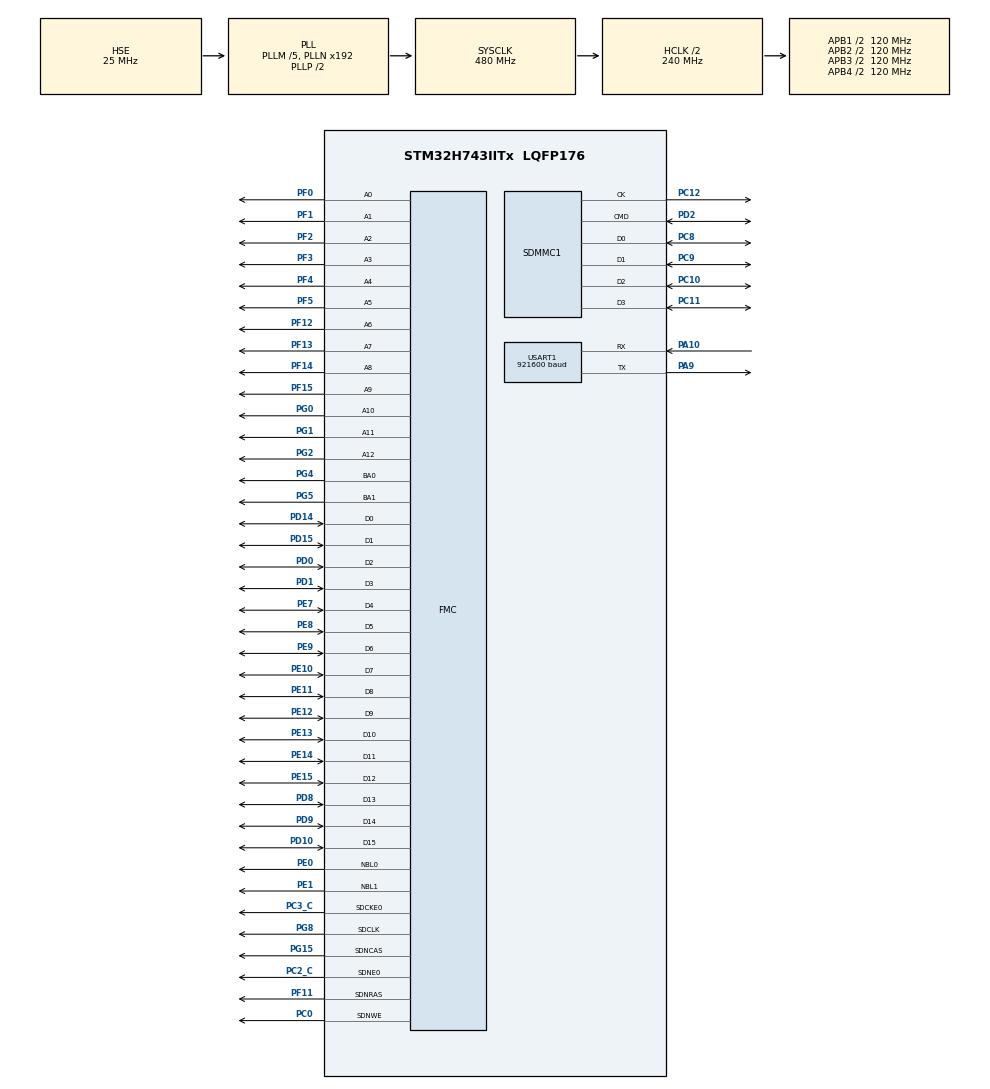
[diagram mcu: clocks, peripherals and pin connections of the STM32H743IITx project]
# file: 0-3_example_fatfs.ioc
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Dma.Request0=USART1_RX
Dma.Request1=USART1_TX
Dma.USART1_RX.0.Direction=DMA_PERIPH_TO_MEMORY
Dma.USART1_RX.0.EventEnable=DISABLE
Dma.USART1_RX.0.FIFOMode=DMA_FIFOMODE_DISABLE
Dma.USART1_RX.0.Instance=DMA1_Stream0
Dma.USART1_RX.0.MemDataAlignment=DMA_MDATAALIGN_BYTE
Dma.USART1_RX.0.MemInc=DMA_MINC_ENABLE
Dma.USART1_RX.0.Mode=DMA_NORMAL
Dma.USART1_RX.0.PeriphDataAlignment=DMA_PDATAALIGN_BYTE
Dma.USART1_RX.0.PeriphInc=DMA_PINC_DISABLE
Dma.USART1_RX.0.Polarity=HAL_DMAMUX_REQ_GEN_RISING
Dma.USART1_RX.0.Priority=DMA_PRIORITY_LOW
Dma.USART1_RX.0.RequestNumber=1
Dma.USART1_RX.0.SignalID=NONE
Dma.USART1_RX.0.SyncEnable=DISABLE
Dma.USART1_RX.0.SyncPolarity=HAL_DMAMUX_SYNC_NO_EVENT
Dma.USART1_RX.0.SyncRequestNumber=1
Dma.USART1_RX.0.SyncSignalID=NONE
Dma.USART1_TX.1.Direction=DMA_MEMORY_TO_PERIPH
Dma.USART1_TX.1.EventEnable=DISABLE
Dma.USART1_TX.1.FIFOMode=DMA_FIFOMODE_DISABLE
Dma.USART1_TX.1.Instance=DMA1_Stream1
Dma.USART1_TX.1.MemDataAlignment=DMA_MDATAALIGN_BYTE
Dma.USART1_TX.1.MemInc=DMA_MINC_ENABLE
Dma.USART1_TX.1.Mode=DMA_NORMAL
Dma.USART1_TX.1.PeriphDataAlignment=DMA_PDATAALIGN_BYTE
Dma.USART1_TX.1.PeriphInc=DMA_PINC_DISABLE
Dma.USART1_TX.1.Polarity=HAL_DMAMUX_REQ_GEN_RISING
Dma.USART1_TX.1.Priority=DMA_PRIORITY_LOW
Dma.USART1_TX.1.RequestNumber=1
Dma.USART1_TX.1.SignalID=NONE
Dma.USART1_TX.1.SyncEnable=DISABLE
Dma.USART1_TX.1.SyncPolarity=HAL_DMAMUX_SYNC_NO_EVENT
Dma.USART1_TX.1.SyncRequestNumber=1
Dma.USART1_TX.1.SyncSignalID=NONE
FATFS.USE_DMA_CODE_SD=1
FATFS._CODE_PAGE=936
FATFS._FS_EXFAT=1
FATFS._FS_RPATH=2
FATFS._LFN_UNICODE=1
FATFS._MAX_SS=4096
FATFS._MULTI_PARTITION=0
FATFS._USE_LFN=3
FATFS._USE_TRIM=1
FMC.CASLatency1=FMC_SDRAM_CAS_LATENCY_2
FMC.ColumnBitsNumber1=FMC_SDRAM_COLUMN_BITS_NUM_9
FMC.ExitSelfRefreshDelay1=8
FMC.LoadToActiveDelay1=2
FMC.RCDDelay1=2
FMC.RPDelay1=2
FMC.ReadBurst1=FMC_SDRAM_RBURST_ENABLE
FMC.ReadPipeDelay1=FMC_SDRAM_RPIPE_DELAY_1
FMC.RowCycleDelay1=6
FMC.RowCycleDelay2=6
FMC.SDClockPeriod1=FMC_SDRAM_CLOCK_PERIOD_2
FMC.SelfRefreshTime1=6
FMC.WriteRecoveryTime1=4
Mcu.Family=STM32H7
Mcu.Name=STM32H743IITx
Mcu.Package=LQFP176
NVIC.DMA1_Stream0_IRQn=true\:0\:0\:false\:false\:true\:false\:true\:true
NVIC.DMA1_Stream1_IRQn=true\:0\:0\:false\:false\:true\:false\:true\:true
NVIC.FMC_IRQn=true\:0\:0\:false\:false\:true\:true\:true\:true
NVIC.PriorityGroup=NVIC_PRIORITYGROUP_4
NVIC.SDMMC1_IRQn=true\:1\:0\:true\:false\:true\:true\:true\:true
NVIC.USART1_IRQn=true\:0\:0\:false\:false\:true\:true\:true\:true
PA10.GPIO_Speed=GPIO_SPEED_FREQ_HIGH
PA10.Mode=Asynchronous
PA10.Signal=USART1_RX
PA13\ (JTMS/SWDIO).Mode=Serial_Wire
PA13\ (JTMS/SWDIO).Signal=DEBUG_JTMS-SWDIO
PA14\ (JTCK/SWCLK).Mode=Serial_Wire
PA14\ (JTCK/SWCLK).Signal=DEBUG_JTCK-SWCLK
PA9.GPIO_Speed=GPIO_SPEED_FREQ_HIGH
PA9.Mode=Asynchronous
PA9.Signal=USART1_TX
PC0.Signal=FMC_SDNWE
PC10.Mode=SD_4_bits_Wide_bus
PC10.Signal=SDMMC1_D2
PC11.Mode=SD_4_bits_Wide_bus
PC11.Signal=SDMMC1_D3
PC12.Mode=SD_4_bits_Wide_bus
PC12.Signal=SDMMC1_CK
PC14-OSC32_IN\ (OSC32_IN).Mode=LSE-External-Oscillator
PC14-OSC32_IN\ (OSC32_IN).Signal=RCC_OSC32_IN
PC15-OSC32_OUT\ (OSC32_OUT).Mode=LSE-External-Oscillator
PC15-OSC32_OUT\ (OSC32_OUT).Signal=RCC_OSC32_OUT
PC2_C.Mode=SdramChipSelect1_1
PC2_C.Signal=FMC_SDNE0
PC3_C.Mode=SdramChipSelect1_1
PC3_C.Signal=FMC_SDCKE0
PC8.Mode=SD_4_bits_Wide_bus
PC8.Signal=SDMMC1_D0
PC9.Mode=SD_4_bits_Wide_bus
PC9.Signal=SDMMC1_D1
PD0.Signal=FMC_D2_DA2
PD1.Signal=FMC_D3_DA3
PD10.Signal=FMC_D15_DA15
PD14.Signal=FMC_D0_DA0
PD15.Signal=FMC_D1_DA1
PD2.Mode=SD_4_bits_Wide_bus
PD2.Signal=SDMMC1_CMD
PD8.Signal=FMC_D13_DA13
PD9.Signal=FMC_D14_DA14
PE0.Signal=FMC_NBL0
PE1.Signal=FMC_NBL1
PE10.Signal=FMC_D7_DA7
PE11.Signal=FMC_D8_DA8
PE12.Signal=FMC_D9_DA9
PE13.Signal=FMC_D10_DA10
PE14.Signal=FMC_D11_DA11
PE15.Signal=FMC_D12_DA12
PE7.Signal=FMC_D4_DA4
PE8.Signal=FMC_D5_DA5
PE9.Signal=FMC_D6_DA6
PF0.Signal=FMC_A0
PF1.Signal=FMC_A1
PF11.Signal=FMC_SDNRAS
PF12.Signal=FMC_A6
PF13.Signal=FMC_A7
PF14.Signal=FMC_A8
PF15.Signal=FMC_A9
PF2.Signal=FMC_A2
PF3.Signal=FMC_A3
PF4.Signal=FMC_A4
PF5.Signal=FMC_A5
PG0.Signal=FMC_A10
PG1.Signal=FMC_A11
PG15.Signal=FMC_SDNCAS
PG2.Signal=FMC_A12
PG4.Signal=FMC_A14_BA0
PG5.Signal=FMC_A15_BA1
PG8.Signal=FMC_SDCLK
PH0-OSC_IN\ (PH0).Mode=HSE-External-Oscillator
PH0-OSC_IN\ (PH0).Signal=RCC_OSC_IN
PH1-OSC_OUT\ (PH1).Mode=HSE-External-Oscillator
PH1-OSC_OUT\ (PH1).Signal=RCC_OSC_OUT
ProjectManager.HeapSize=0x400
ProjectManager.StackSize=0x800
ProjectManager.TargetToolchain=STM32CubeIDE
RCC.ADCFreq_Value=400000000
RCC.APB1Freq_Value=120000000
RCC.APB2Freq_Value=120000000
RCC.APB3Freq_Value=120000000
RCC.APB4Freq_Value=120000000
RCC.CortexFreq_Value=480000000
RCC.D1PPRE=RCC_APB3_DIV2
RCC.D2PPRE1=RCC_APB1_DIV2
RCC.D2PPRE2=RCC_APB2_DIV2
RCC.D3PPRE=RCC_APB4_DIV2
RCC.DIVM1=5
RCC.DIVM2=5
RCC.DIVM3=5
RCC.DIVN1=192
RCC.DIVN2=160
RCC.DIVN3=192
RCC.DIVQ1=4
RCC.DIVQ2=4
RCC.DIVQ3=4
RCC.DIVR2=4
RCC.HCLKFreq_Value=240000000
RCC.HPRE=RCC_HCLK_DIV2
RCC.PLLSourceVirtual=RCC_PLLSOURCE_HSE
RCC.RTCClockSelection=RCC_RTCCLKSOURCE_LSE
RCC.SYSCLKFreq_VALUE=480000000
RCC.SYSCLKSource=RCC_SYSCLKSOURCE_PLLCLK
RCC.USBFreq_Value=240000000
RTC.Date=29
RTC.Format=RTC_FORMAT_BIN
RTC.Hours=22
RTC.Minutes=22
RTC.Month=RTC_MONTH_JULY
RTC.Seconds=22
RTC.WeekDay=RTC_WEEKDAY_TUESDAY
RTC.Year=25
SDMMC1.ClockDiv=8
SDMMC1.TransceiverPresent=SDMMC_TRANSCEIVER_NOT_PRESENT
SH.FMC_A0.0=FMC_A0,13b-sda1
SH.FMC_A1.0=FMC_A1,13b-sda1
SH.FMC_A10.0=FMC_A10,13b-sda1
SH.FMC_A11.0=FMC_A11,13b-sda1
SH.FMC_A12.0=FMC_A12,13b-sda1
SH.FMC_A14_BA0.0=FMC_BA0,FourSdramBanks1
SH.FMC_A15_BA1.0=FMC_BA1,FourSdramBanks1
SH.FMC_A2.0=FMC_A2,13b-sda1
SH.FMC_A3.0=FMC_A3,13b-sda1
SH.FMC_A4.0=FMC_A4,13b-sda1
SH.FMC_A5.0=FMC_A5,13b-sda1
SH.FMC_A6.0=FMC_A6,13b-sda1
SH.FMC_A7.0=FMC_A7,13b-sda1
SH.FMC_A8.0=FMC_A8,13b-sda1
SH.FMC_A9.0=FMC_A9,13b-sda1
SH.FMC_D0_DA0.0=FMC_D0,sd-16b-d1
SH.FMC_D10_DA10.0=FMC_D10,sd-16b-d1
SH.FMC_D11_DA11.0=FMC_D11,sd-16b-d1
SH.FMC_D12_DA12.0=FMC_D12,sd-16b-d1
SH.FMC_D13_DA13.0=FMC_D13,sd-16b-d1
SH.FMC_D14_DA14.0=FMC_D14,sd-16b-d1
SH.FMC_D15_DA15.0=FMC_D15,sd-16b-d1
SH.FMC_D1_DA1.0=FMC_D1,sd-16b-d1
SH.FMC_D2_DA2.0=FMC_D2,sd-16b-d1
SH.FMC_D3_DA3.0=FMC_D3,sd-16b-d1
SH.FMC_D4_DA4.0=FMC_D4,sd-16b-d1
SH.FMC_D5_DA5.0=FMC_D5,sd-16b-d1
SH.FMC_D6_DA6.0=FMC_D6,sd-16b-d1
SH.FMC_D7_DA7.0=FMC_D7,sd-16b-d1
SH.FMC_D8_DA8.0=FMC_D8,sd-16b-d1
SH.FMC_D9_DA9.0=FMC_D9,sd-16b-d1
SH.FMC_NBL0.0=FMC_NBL0,Sd2ByteEnable1
SH.FMC_NBL1.0=FMC_NBL1,Sd2ByteEnable1
SH.FMC_SDCLK.0=FMC_SDCLK,13b-sda1
SH.FMC_SDNCAS.0=FMC_SDNCAS,13b-sda1
SH.FMC_SDNRAS.0=FMC_SDNRAS,13b-sda1
SH.FMC_SDNWE.0=FMC_SDNWE,13b-sda1
USART1.BaudRate=921600
USART1.VirtualMode-Asynchronous=VM_ASYNC
VP_FATFS_VS_SDIO.Mode=SDIO
VP_MEMORYMAP_VS_MEMORYMAP.Mode=CurAppReg
VP_RTC_VS_RTC_Activate.Mode=RTC_Enabled
VP_RTC_VS_RTC_Calendar.Mode=RTC_Calendar
board=custom

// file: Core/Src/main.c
/* USER CODE BEGIN Header */
/**
  ******************************************************************************
  * @file           : main.c
  * @brief          : Main program body
  ******************************************************************************
  * @attention
  *
  * Copyright (c) 2025 STMicroelectronics.
  * All rights reserved.
  *
  * This software is licensed under terms that can be found in the LICENSE file
  * in the root directory of this software component.
  * If no LICENSE file comes with this software, it is provided AS-IS.
  *
  ******************************************************************************
  */
/* USER CODE END Header */
#include "main.h"
#include "dma.h"
#include "fatfs.h"
#include "rtc.h"
#include "sdmmc.h"
#include "usart.h"
#include "gpio.h"
#include "fmc.h"

/* USER CODE BEGIN Includes */
//#define NDEBUG
#include "string.h"
#include "sys/sys.h"
#include "delay/delay.h"
#include "usart/retarget.h"
//BSP
#include "sdram/W9825G6KH.h"
//APP
#include "MALLOC/malloc.h"
#include "SDRAM_test/sdram_test.h"
#include "RAMspeed_test/speed_test.h"
#include "SDCARD_test/SDCARD_test.h"
#include "FATFS_test/FATFS_test.h"

/* USER CODE END Includes */

/* USER CODE BEGIN PV */
char receivData[50] = {0}; //存放接收内容(记得初始化)
uint8_t dataReady = 0; //发送标志位

/* USER CODE END PV */

void SystemClock_Config(void);
/* USER CODE BEGIN PFP */

//重定义'串口事件回调'函数
void HAL_UARTEx_RxEventCallback(UART_HandleTypeDef *huart, uint16_t Size) {
    if (huart == &huart1) {
        dataReady = 1; //在主函数里处理发送

        //处理数据...

        HAL_UARTEx_ReceiveToIdle_DMA(&huart1, (uint8_t *) receivData, 50);
    }
}

/* USER CODE END PFP */

int main(void)
{

  /* MCU Configuration--------------------------------------------------------*/

  /* Reset of all peripherals, Initializes the Flash interface and the Systick. */
  HAL_Init();

  /* Configure the system clock */
  SystemClock_Config();

  /* Initialize all configured peripherals */
  MX_GPIO_Init();
  MX_DMA_Init();
  MX_SDMMC1_SD_Init();
  MX_USART1_UART_Init();
  MX_RTC_Init();
  MX_FATFS_Init();
  MX_FMC_Init();
  /* USER CODE BEGIN 2 */
    delay_init(480);
    RetargetInit(&huart1);
    HAL_UARTEx_ReceiveToIdle_DMA(&huart1, (uint8_t *) receivData, 50);
#ifndef NDEBUG
    printf("\r\n\r\nPrintf init success !!!\r\n");
#endif
    SDRAM_InitSequence();
    HAL_Delay(100);

#if 0
    fsmc_sdram_test();
#endif
    HAL_Delay(100);//内存池初始化
    my_mem_init(SRAMIN);
    my_mem_init(SRAMEX);
    my_mem_init(SRAM12);
    my_mem_init(SRAM4);
    my_mem_init(SRAMDTCM);
    my_mem_init(SRAMITCM);
    printf("mallco init success!!\r\n");
#if 0
    memory_speed_test_all();	//内存速度测试
#endif
#if 0
    /* SD卡基本读写测试,测试最大频率为 (240)/2*(8) = 15MHZ*/
    printf(" ==================== SDcard test ==================== \r\n");
    SDCard_ShowInfo();
    SDCard_EraseBlocks(0, 10);
    SDCard_TestWrite();
    SDCard_TestRead();
    printf("SD:%lu\r\n", HAL_SD_GetCardState(&hsd1));
    printf(" ==================== SDtest cplt ==================== \r\n");
#endif

    fatfs_test();
    //fatfs_test_exfuns();

  /* USER CODE END 2 */

  /* Infinite loop */
  /* USER CODE BEGIN WHILE */
    while (1) {
        if (dataReady) {
            HAL_UART_Transmit_DMA(&huart1, (uint8_t *) receivData, strlen(receivData));
            dataReady = 0;
        }

    /* USER CODE END WHILE */

    }
}

void SystemClock_Config(void)
{
  RCC_OscInitTypeDef RCC_OscInitStruct = {0};
  RCC_ClkInitTypeDef RCC_ClkInitStruct = {0};

  /** Supply configuration update enable
  */
  HAL_PWREx_ConfigSupply(PWR_LDO_SUPPLY);

  /** Configure the main internal regulator output voltage
  */
  __HAL_PWR_VOLTAGESCALING_CONFIG(PWR_REGULATOR_VOLTAGE_SCALE0);

  while(!__HAL_PWR_GET_FLAG(PWR_FLAG_VOSRDY)) {}

  /** Configure LSE Drive Capability
  */
  HAL_PWR_EnableBkUpAccess();
  __HAL_RCC_LSEDRIVE_CONFIG(RCC_LSEDRIVE_LOW);

  /** Initializes the RCC Oscillators according to the specified parameters
  * in the RCC_OscInitTypeDef structure.
  */
  RCC_OscInitStruct.OscillatorType = RCC_OSCILLATORTYPE_HSE|RCC_OSCILLATORTYPE_LSE;
  RCC_OscInitStruct.HSEState = RCC_HSE_ON;
  RCC_OscInitStruct.LSEState = RCC_LSE_ON;
  RCC_OscInitStruct.PLL.PLLState = RCC_PLL_ON;
  RCC_OscInitStruct.PLL.PLLSource = RCC_PLLSOURCE_HSE;
  RCC_OscInitStruct.PLL.PLLM = 5;
  RCC_OscInitStruct.PLL.PLLN = 192;
  RCC_OscInitStruct.PLL.PLLP = 2;
  RCC_OscInitStruct.PLL.PLLQ = 4;
  RCC_OscInitStruct.PLL.PLLR = 2;
  RCC_OscInitStruct.PLL.PLLRGE = RCC_PLL1VCIRANGE_2;
  RCC_OscInitStruct.PLL.PLLVCOSEL = RCC_PLL1VCOWIDE;
  RCC_OscInitStruct.PLL.PLLFRACN = 0;
  if (HAL_RCC_OscConfig(&RCC_OscInitStruct) != HAL_OK)
  {
    Error_Handler();
  }

  /** Initializes the CPU, AHB and APB buses clocks
  */
  RCC_ClkInitStruct.ClockType = RCC_CLOCKTYPE_HCLK|RCC_CLOCKTYPE_SYSCLK
                              |RCC_CLOCKTYPE_PCLK1|RCC_CLOCKTYPE_PCLK2
                              |RCC_CLOCKTYPE_D3PCLK1|RCC_CLOCKTYPE_D1PCLK1;
  RCC_ClkInitStruct.SYSCLKSource = RCC_SYSCLKSOURCE_PLLCLK;
  RCC_ClkInitStruct.SYSCLKDivider = RCC_SYSCLK_DIV1;
  RCC_ClkInitStruct.AHBCLKDivider = RCC_HCLK_DIV2;
  RCC_ClkInitStruct.APB3CLKDivider = RCC_APB3_DIV2;
  RCC_ClkInitStruct.APB1CLKDivider = RCC_APB1_DIV2;
  RCC_ClkInitStruct.APB2CLKDivider = RCC_APB2_DIV2;
  RCC_ClkInitStruct.APB4CLKDivider = RCC_APB4_DIV2;

  if (HAL_RCC_ClockConfig(&RCC_ClkInitStruct, FLASH_LATENCY_4) != HAL_OK)
  {
    Error_Handler();
  }
}

void Error_Handler(void)
{
    __disable_irq();
    while (1) {
    }
}
